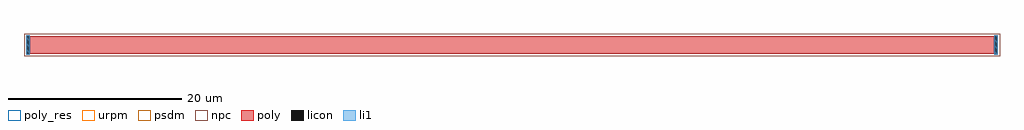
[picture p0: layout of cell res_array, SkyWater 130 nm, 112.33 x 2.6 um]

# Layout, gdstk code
import gdstk
lib = gdstk.Library(unit=1e-6, precision=1e-09)
def R(c, l, rs):  # rectangles x0, y0, x1, y1
    for r in rs: c.add(gdstk.rectangle(r[:2], r[2:], *l))
poly_res = (66, 13)
poly = (66, 20)
licon = (66, 44)
li1 = (67, 20)
urpm = (79, 20)
psdm = (94, 20)
npc = (95, 20)

res_array = lib.new_cell('res_array')
R(res_array, poly_res, [(0.39,0,111.44,2)])
R(res_array, poly, [(0,-0.1,0.39,2.1), (111.44,-0.1,111.83,2.1), (0,0,111.83,2)])
R(res_array, licon, [(0.1,0,0.29,2), (111.54,0,111.73,2)])
R(res_array, li1, [(0,-0.1,0.39,2.1), (111.44,-0.1,111.83,2.1)])
R(res_array, urpm, [(-0.25,-0.3,112.08,2.3)])
R(res_array, psdm, [(-0.25,-0.3,112.08,2.3)])
R(res_array, npc, [(-0.25,-0.3,112.08,2.3)])

lib.write_gds('res_array.gds')
